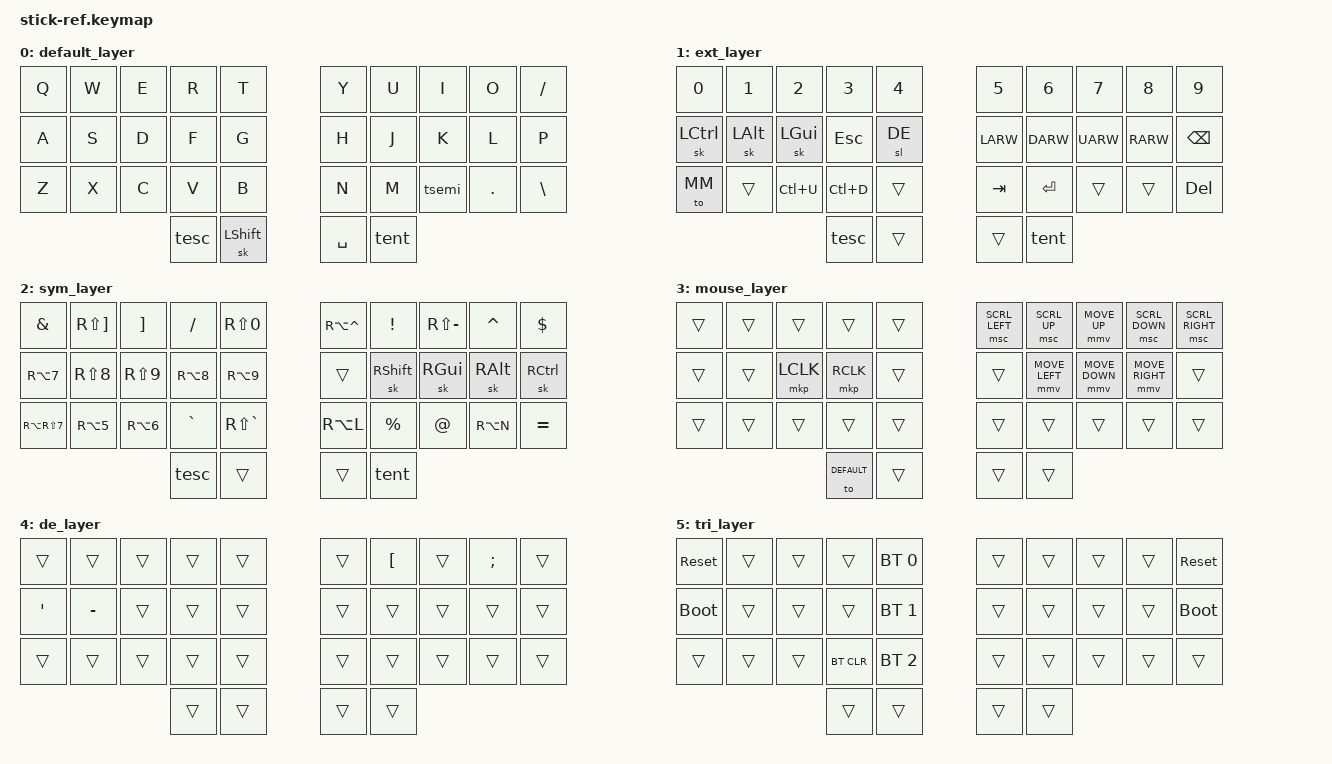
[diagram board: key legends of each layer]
// Copyright (c) 2022 The ZMK Contributors
// SPDX-License-Identifier: MIT

#include <behaviors.dtsi>
#include <dt-bindings/zmk/keys.h>
#include <dt-bindings/zmk/bt.h>
#include <dt-bindings/zmk/pointing.h>

#define ZMK_POINTING_DEFAULT_MOVE_VAL 1000  // default: 600
#define ZMK_POINTING_DEFAULT_SCRL_VAL 15    // default: 10


// Home row mods macro

#define DEFAULT 0
#define EXT 1
#define SYM 2
#define MM 3
#define DE 4
#define SYSTEM 5



&sk {
    release-after-ms = <2000>;
    /delete-property/ ignore-modifiers;
};

&sl {
    release-after-ms = <2000>;
};

&mmv {
   time-to-max-speed-ms = <680>;
   acceleration-exponent=<2>;
};

/ {

    combos {
            compatible = "zmk,combos";
            combe_sys_left {
                timeout-ms = <50>;
                key-positions = <30 31>;
                bindings = <&sl SYSTEM>;
            };
            combo_sys_right {
                timeout-ms = <50>;
                key-positions = <32 33>;
                bindings = <&sl SYSTEM>;
            };
        };

    behaviors {
        tesc: tap_dance_esc {
            compatible = "zmk,behavior-tap-dance";
            #binding-cells = <0>;
            tapping-term-ms = <350>;
            bindings = <&sl EXT>, <&kp ESC>;
        };


        tent: tap_dance_enter {
            compatible = "zmk,behavior-tap-dance";
            #binding-cells = <0>;
            tapping-term-ms = <350>;
            bindings = <&sl SYM>, <&kp ENTER>;
        };

        tsemi: tap_dance_semi {
            compatible = "zmk,behavior-tap-dance";
            #binding-cells = <0>;
            tapping-term-ms = <200>;
            bindings = <&kp COMMA>, <&kp LS(COMMA)>;
        };

    };

    keymap {
        compatible = "zmk,keymap";
        default_layer {
            bindings = <
        //╭──────────┬──────────┬──────────┬──────────┬──────────╮   ╭──────────┬──────────┬──────────┬──────────┬──────────╮
        //│  Q       │  W       │  E       │  R       │  T       │   │  Y       │  U       │  I       │  O       │ - _      │
            &kp Q      &kp W      &kp E      &kp R      &kp T          &kp Y      &kp U      &kp I      &kp O      &kp FSLH
        //├──────────┼──────────┼──────────┼──────────┼──────────┤   ├──────────┼──────────┼──────────┼──────────┼──────────┤
        //│  A       │  S       │  D       │  F       │  G       │   │  H       │  J       │  K       │  L       │ P        │
            &kp A      &kp S      &kp D      &kp F      &kp G          &kp H      &kp J      &kp K      &kp L      &kp P
        //├──────────┼──────────┼──────────┼──────────┼──────────┤   ├──────────┼──────────┼──────────┼──────────┼──────────┤
        //│  Z       │  X       │  C       │  V       │  B       │   │  N       │  M       │ , <      │ . >      │ # '      │
            &kp Z      &kp X      &kp C      &kp V      &kp B          &kp N      &kp M      &tsemi     &kp DOT    &kp BSLH
        //╰──────────┴──────────┴──────────┼──────────┼──────────┤   ├──────────┼──────────┼──────────┴──────────┴──────────╯
                                             &tesc      &sk LSHFT      &kp SPACE  &tent 
        //                                 ╰──────────┴──────────╯   ╰──────────┴──────────╯
            >;
        };

        ext_layer {
            bindings = <
        //╭──────────┬──────────┬──────────┬──────────┬──────────╮   ╭──────────┬──────────┬──────────┬──────────┬──────────╮
        //│          │          │          │          │          │   │          │          │          │          │          │
           &kp N0      &kp N1    &kp N2      &kp N3     &kp N4         &kp N5     &kp N6     &kp N7     &kp N8     &kp N9
        //├──────────┼──────────┼──────────┼──────────┼──────────┤   ├──────────┼──────────┼──────────┼──────────┼──────────┤
        //│          │          │          │          │          │   │ LEFT     │ DOWN     │ UP       │ RIGHT    │          │
            &sk LCTRL  &sk LALT   &sk LGUI   &kp ESC    &sl DE         &kp LARW   &kp DARW   &kp UARW   &kp RARW   &kp BSPC
        //├──────────┼──────────┼──────────┼──────────┼──────────┤   ├──────────┼──────────┼──────────┼──────────┼──────────┤
        //│          │          │          │          │          │   │          │          │          │          │          │
            &to MM    &trans     &kp LC(U)   &kp LC(D)  &trans         &kp TAB   &kp ENTER  &trans     &trans     &kp DEL
        //╰──────────┴──────────┴──────────┼──────────┼──────────┤   ├──────────┼──────────┼──────────┴──────────┴──────────╯
                                             &tesc      &trans          &trans     &tent
        //                                 ╰──────────┴──────────╯   ╰──────────┴──────────╯
            >;
        };

        sym_layer {
            bindings = <
        //╭──────────┬──────────┬──────────┬──────────┬──────────╮   ╭──────────┬──────────┬──────────┬──────────┬──────────╮
        //│  /       │  *       │ +        │ -        │  =       │   │ ^        │ !        │ ?        │ &        │  $       │      
            &kp AMPS &kp RS(RBKT) &kp RBKT   &kp FSLH     &kp RS(N0)   &kp RA(CARET) &kp EXCL &kp RS(MINUS) &kp CARET &kp DLLR
        //├──────────┼──────────┼──────────┼──────────┼──────────┤   ├──────────┼──────────┼──────────┼──────────┼──────────┤
        //│  |       │  (       │  )       │  {       │  }       │   │          │          │          │          │          │
            &kp RA(N7) &kp RS(N8) &kp RS(N9) &kp RA(N8) &kp RA(N9)      &trans     &sk RSHFT  &sk RGUI   &sk RALT   &sk RCTRL
        //├──────────┼──────────┼──────────┼──────────┼──────────┤   ├──────────┼──────────┼──────────┼──────────┼──────────┤
        //│  \       │  [       │  ]       │  <       │  >       │   │ @        │ %        │ qoute    │ ~        │  `       │
          &kp RA(RS(N7)) &kp RA(N5) &kp RA(N6) &kp GRAVE  &kp RS(GRAVE)  &kp RA(L)  &kp PRCNT  &kp AT     &kp RA(N)  &kp EQUAL
        //├──────────┼──────────┼──────────┴──────────┴──────────╯   ├──────────┼──────────┼──────────┴──────────┴──────────╯
                                             &tesc      &trans         &trans     &tent
        //                                 ╰──────────┴──────────╯   ╰──────────┴──────────╯
            >;
        };

        mouse_layer {
            bindings = <
        //╭──────────┬──────────┬──────────┬──────────┬──────────╮   ╭──────────┬──────────┬──────────┬──────────┬──────────╮
        //│          │          │          │          │          │   │          │          │          │          │          │
           &trans      &trans     &trans     &trans     &trans     &msc SCRL_LEFT &msc SCRL_UP &mmv MOVE_UP &msc SCRL_DOWN &msc SCRL_RIGHT 
        //├──────────┼──────────┼──────────┼──────────┼──────────┤   ├──────────┼──────────┼──────────┼──────────┼──────────┤
        //│          │          │          │          │          │   │          │          │          │          │          │
            &trans     &trans     &mkp LCLK &mkp RCLK   &trans        &trans &mmv MOVE_LEFT &mmv MOVE_DOWN  &mmv MOVE_RIGHT &trans
        //├──────────┼──────────┼──────────┼──────────┼──────────┤   ├──────────┼──────────┼──────────┼──────────┼──────────┤
        //│          │          │          │          │          │   │          │          │          │          │          │
            &trans     &trans     &trans     &trans     &trans         &trans     &trans     &trans     &trans     &trans
        //╰──────────┴──────────┴──────────┼──────────┼──────────┤   ├──────────┼──────────┼──────────┴──────────┴──────────╯
                                             &to DEFAULT &trans         &trans     &trans
        //                                 ╰──────────┴──────────╯   ╰──────────┴──────────╯
            >;
        };

        de_layer {
            bindings = <
        //╭──────────┬──────────┬──────────┬──────────┬──────────╮   ╭──────────┬──────────┬──────────┬──────────┬──────────╮
        //│          │          │          │          │          │   │          │  ü       │          │  ö       │          │
           &trans      &trans     &trans     &trans     &trans         &trans     &kp LBKT   &trans     &kp SEMI   &trans 
        //├──────────┼──────────┼──────────┼──────────┼──────────┤   ├──────────┼──────────┼──────────┼──────────┼──────────┤
        //│  ä       │  ß       │          │          │          │   │          │          │          │          │          │
            &kp SQT    &kp MINUS  &trans     &trans     &trans         &trans     &trans     &trans     &trans     &trans
        //├──────────┼──────────┼──────────┼──────────┼──────────┤   ├──────────┼──────────┼──────────┼──────────┼──────────┤
        //│          │          │          │          │          │   │          │          │          │          │          │
            &trans     &trans     &trans     &trans     &trans         &trans     &trans     &trans     &trans     &trans
        //╰──────────┴──────────┴──────────┼──────────┼──────────┤   ├──────────┼──────────┼──────────┴──────────┴──────────╯
                                             &trans     &trans         &trans     &trans
        //                                 ╰──────────┴──────────╯   ╰──────────┴──────────╯
            >;
        };

        tri_layer {
            bindings = <
        //╭──────────┬──────────┬──────────┬──────────┬──────────╮   ╭──────────┬──────────┬──────────┬──────────┬──────────╮
        //│ RESET    │          │          │          │PROFILE 0 │   │          │          │          │          │  RESET   │
           &sys_reset  &trans     &trans     &trans    &bt BT_SEL 0    &trans     &trans     &trans     &trans    &sys_reset
        //├──────────┼──────────┼──────────┼──────────┼──────────┤   ├──────────┼──────────┼──────────┼──────────┼──────────┤
        //│BOOTLOADER│          │          │          │PROFILE 1 │   │          │          │          │          │BOOTLOADER│
          &bootloader  &trans     &trans     &trans   &bt BT_SEL 1    &trans     &trans     &trans     &trans    &bootloader
        //├──────────┼──────────┼──────────┼──────────┼──────────┤   ├──────────┼──────────┼──────────┼──────────┼──────────┤
        //│          │          │          │ CLEAR BT │PROFILE 2 │   │          │          │          │          │          │
            &trans     &trans     &trans    &bt BT_CLR &bt BT_SEL 2    &trans     &trans     &trans     &trans     &trans
        //╰──────────┴──────────┴──────────┼──────────┼──────────┤   ├──────────┼──────────┼──────────┴──────────┴──────────╯
                                             &trans     &trans         &trans     &trans
        //                                 ╰──────────┴──────────╯   ╰──────────┴──────────╯
            >;
        };


    };
};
